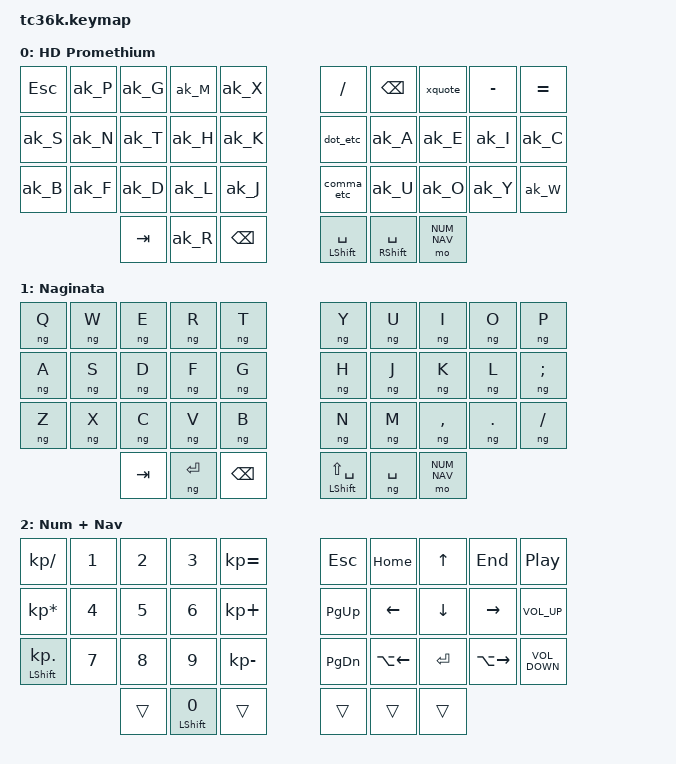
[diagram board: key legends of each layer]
// A default Qwerty keymap is provided along with the Tutte-Coxeter 36K (TC36K)
// and Hesse shields for my split 3x5_3 style 36-key keyboards.
//
// This file is my personal keymap, a modified version of the inverted Hands
// Down Promethium layout, with a numbers/navigation layer, symbols on
// chords/combos, and a Naginata Style layer for typing in Japanese.
//
// Tested on macOS. Symbols assume keyboard is set in the OS as ISO, and used
// with the British locale (e.g. double-quote versus at sign, pipe, etc).

#include <behaviors.dtsi>
#include <dt-bindings/zmk/keys.h>
#include "zmk-helpers/key-labels/36.h"
#include <behaviors/naginata.dtsi>

/ {
  chosen {
    /delete-property/     zephyr,console;
    /delete-property/     zephyr,shell-uart;
    /delete-property/     zephyr,uart-mcumgr;
    /delete-property/     zephyr,bt-mon-uart;
    /delete-property/     zephyr,bt-c2h-uart;
  };
};

// Aliases for my layers
#define DEFAULT 0
#define NAGINATA 1
#define NUM_NAV 2

#define my_linger_term 350 // linger mod-tap trigger time window
#define my_ak_term 350 // behavior-adaptive-key trigger time window
#define my_cc_term 1400 // CommaCap trigger time window

/ {
    macros {
        // To switch to Japanese mode, this sends what Karabiner-Elements sees
        // as japanese_kana (Apple's kana key for macOS),
        // japanese_px_xfer (PC converted key for Windows)
        ng_on: ng_on {
            compatible = "zmk,behavior-macro";
            #binding-cells = <0>;
            bindings
                = <&macro_tap &kp LANGUAGE_1 &kp INTERNATIONAL_4 &to 1>
                ;
        };
        // To switch back to alphanumeric mode, this sends what Karabiner-Elements sees
        // as japanese_eisuu (Apple's alphanumeric key for macOS),
        // japanese_pc_nfer (PC unconverted key for Windows)
        ng_off: ng_off {
            compatible = "zmk,behavior-macro";
            #binding-cells = <0>;
            bindings
                = <&macro_tap &kp LANGUAGE_2 &kp INTERNATIONAL_5 &to 0>
                ;
        };

        // Temporarily switch off the Naginata layer (`&tog 1`) while a modifier is held.
        // Analogous to QMK's `LM(layer, mod)` and ZMK's `&lm` macro but want layer 0 active!
        base_with_mod: base_with_mod {
            compatible = "zmk,behavior-macro-one-param";
            wait-ms = <0>;
            tap-ms = <0>;
            #binding-cells = <1>;
            bindings
                = <&macro_press &tog NAGINATA >
                , <&macro_param_1to1>
                , <&macro_press &kp MACRO_PLACEHOLDER>
                , <&macro_pause_for_release>
                , <&macro_param_1to1>
                , <&macro_release &kp MACRO_PLACEHOLDER>
                , <&macro_press &tog NAGINATA >
                ;
        };

        // Single key-press macro for use in linger-keys
        ktap: key_tap {
            compatible = "zmk,behavior-macro-one-param";
            #binding-cells = <1>;
            display-name = "Key Tap";
            bindings = <&macro_param_1to1>, <&kp MACRO_PLACEHOLDER>;
            tap-ms = <30>;
        };
    };
};

/ {
    behaviors {

        hpmt: hold_preferred_mod_tap {
            compatible = "zmk,behavior-hold-tap";
            #binding-cells = <2>;
            flavor = "hold-preferred";
            tapping-term-ms = <300>;
            quick-tap-ms = <175>;
            bindings = <&kp>, <&kp>;
        };

        // make shift+quote give double-quote like ANSI or Apple UK
        // when host setup with British layout (would be @-sign)
        xquote: override_shift_quote {
            compatible = "zmk,behavior-mod-morph";
            #binding-cells = <0>;
            bindings = <&kp SQT>, <&kp N2>;
            mods = <(MOD_LSFT|MOD_RSFT)>;
            // need to keep shift, and anything else too:
            keep-mods = <(MOD_LSFT|MOD_RSFT|MOD_LCTL|MOD_RCTL|MOD_LALT|MOD_RALT|MOD_LGUI|MOD_RGUI)>;
        };

#include "adaptive-keys.h"

        dot_colon: dot_colon {
            compatible = "zmk,behavior-mod-morph";
            #binding-cells = <0>;
            bindings = <&kp DOT>, <&kp SEMI>;
            mods = <(MOD_LSFT|MOD_RSFT)>;
            // need to keep shift, and anything else too:
            keep-mods = <(MOD_LSFT|MOD_RSFT|MOD_LCTL|MOD_RCTL|MOD_LALT|MOD_RALT|MOD_LGUI|MOD_RGUI)>;
        };
        linger_dot: linger_dot {
            compatible = "zmk,behavior-hold-tap";
            #binding-cells = <2>;
            tapping-term-ms = <my_linger_term>;
            quick-tap-ms = <0>;
            flavor = "tap-preferred";
            bindings = <&ktap &dot_colon>;
        };

#define dot_etc linger_dot EXCL 0

        comma_semi: comma_semi {
            compatible = "zmk,behavior-mod-morph";
            #binding-cells = <0>;
            bindings = <&kp COMMA>, <&kp SEMI>;
            mods = <(MOD_LSFT|MOD_RSFT)>;
            // do NOT want to keep shift active, but anything else is fine:
            keep-mods = <(MOD_LCTL|MOD_RCTL|MOD_LALT|MOD_RALT|MOD_LGUI|MOD_RGUI)>;
        };
        linger_comma: linger_comma {
            compatible = "zmk,behavior-hold-tap";
            #binding-cells = <2>;
            tapping-term-ms = <my_linger_term>;
            quick-tap-ms = <0>;
            flavor = "tap-preferred";
            bindings = <&ktap &comma_semi>;
        };

#define comma_etc linger_comma QUESTION 0

    };
};

/ {
    keymap {
        compatible = "zmk,keymap";

        default_layer {
            display-name = "HD Promethium";
            bindings = <
                &kp ESCAPE &ak_P &ak_G   &ak_M &ak_X    &kp SLASH         &kp BSPC          &xquote &kp MINUS &kp EQUAL
                &ak_S      &ak_N &ak_T   &ak_H &ak_K    &dot_etc          &ak_A             &ak_E   &ak_I     &ak_C
                &ak_B      &ak_F &ak_D   &ak_L &ak_J    &comma_etc        &ak_U             &ak_O   &ak_Y     &ak_W
                                 &kp TAB &ak_R &kp BSPC &hpmt LSHFT SPACE &hpmt RSHFT SPACE &mo NUM_NAV
            >;
        };

        // The Japanese Naginata Style layer is usually layer 1, after the default layer 0.
        // Follows Qwerty but with &np rather than &kp.
        // Thumbs must include `&ng SPACE` (kana-shift when held) and/or
        // `&ng ENTER` (kana-shift when held), ideally both.
        // Standard (ABC) shift is useful for katakana, here combined
        // with shift+space for selecting previous kanji selection on tap.
        naginata_layer {
            display-name = "Naginata";
            bindings = <
                &ng Q &ng W &ng E   &ng R     &ng T    &ng Y     &ng U      &ng I     &ng O      &ng P
                &ng A &ng S &ng D   &ng F     &ng G    &ng H     &ng J      &ng K     &ng L      &ng SEMI
                &ng Z &ng X &ng C   &ng V     &ng B    &ng N     &ng M      &ng COMMA &ng DOT    &ng SLASH
                            &kp TAB &ng ENTER &kp BSPC &hpmt LSHFT LS(SPACE) &ng SPACE &mo NUM_NAV
                >;
        };

        num_nav_layer {
            display-name = "Num + Nav";
            bindings = <
                &kp KP_DIVIDE    &kp N1 &kp N2 &kp N3         &kp KP_EQUAL &kp ESCAPE &kp HOME     &kp UP     &kp END       &kp C_PLAY_PAUSE
                &kp KP_MULTIPLY  &kp N4 &kp N5 &kp N6         &kp KP_PLUS  &kp PG_UP  &kp LEFT     &kp DOWN   &kp RIGHT     &kp K_VOLUME_UP
                &mt LSHFT KP_DOT &kp N7 &kp N8 &kp N9         &kp KP_MINUS &kp PG_DN  &kp LA(LEFT) &kp RETURN &kp LA(RIGHT) &kp K_VOLUME_DOWN
                                        &trans &hpmt LSHFT N0 &trans       &trans     &trans       &trans
            >;
        };

        // Empty layers for ZMK Studio:
        extra3 {
            status = "reserved";
        };
        extra4 {
            status = "reserved";
        };
        extra5 {
            status = "reserved";
        };
    };
};

/ {
    combos {
        compatible = "zmk,combos";

        // Top left (Q) + top right (P) = &studio_unlock
        combo_studio_unlock {
            timeout-ms = <100>;
            key-positions = <0 9>;
            bindings = <&studio_unlock>;
            layers = <DEFAULT>;
        };

        // Inner corners (T, Y, B, N) = &bootloader
        combo_bootloader {
            timeout-ms = <300>;
            key-positions = <LT0 RT0 LB0 RB0>;
            bindings = <&bootloader>;
            layers = <DEFAULT>;
        };

        // Japanese mode and 薙刀 (Naginata Style) on/off
        // Can't use <RM0 RM1> Qwerty H+J as I use that for close bracket
        combo_ng_on {
            timeout-ms = <300>;
            key-positions = <RM0 RM2>; // Qwerty H+K, on right hand home row
            bindings = <&ng_on>;
            layers = <DEFAULT NAGINATA>;
        };
        // Can't use <LM0 LM1> Qwerty F+G as I use that for open bracket
        combo_ng_off {
            timeout-ms = <300>;
            key-positions = <LM0 LM2>; // Qwerty D+G, on left hand home row
            bindings = <&ng_off>;
            layers = <DEFAULT NAGINATA>;
        };

        // 3-key horizontal combos
        tab_combo {
            bindings = <&kp TAB>;
            key-positions = <LB1 LB2 LB3>;
            timeout-ms = <75>;
        };

        enter_combo {
            bindings = <&kp ENTER>;
            key-positions = <RB1 RB2 RB3>;
            timeout-ms = <75>;
        };

        // 2-key horizontal home-row combos for modifiers
        left_alt_combo {
            bindings = <&kp LALT>;
            key-positions = <LM3 LM4>;
            layers = <DEFAULT NUM_NAV>;
            require-prior-idle-ms = <125>;
        };
        left_ctrl_combo {
            bindings = <&kp LCTRL>;
            key-positions = <LM2 LM3>;
            layers = <DEFAULT NUM_NAV>;
            require-prior-idle-ms = <125>;
        };
        left_gui_combo {
            bindings = <&kp LGUI>;
            key-positions = <LM1 LM2>;
            layers = <DEFAULT NUM_NAV>;
            require-prior-idle-ms = <125>;
        };
        right_alt_combo {
            bindings = <&kp RALT>;
            key-positions = <RM3 RM4>;
            layers = <DEFAULT NUM_NAV>;
            require-prior-idle-ms = <125>;
        };
        right_ctrl_combo {
            bindings = <&kp RCTRL>;
            key-positions = <RM2 RM3>;
            layers = <DEFAULT NUM_NAV>;
            require-prior-idle-ms = <125>;
        };
        right_gui_combo {
            bindings = <&kp RGUI>;
            key-positions = <RM1 RM2>;
            layers = <DEFAULT NUM_NAV>;
            require-prior-idle-ms = <125>;
        };

        // 2-key horizontal combos for rare letters
        q_combo {
            bindings = <&ak_Q>;
            key-positions = <LT1 LT2>;
            layers = <DEFAULT>;
            timeout-ms = <100>;
        };

        z_combo {
            bindings = <&ak_Z>;
            key-positions = <RT2 RT3>;
            layers = <DEFAULT>;
            timeout-ms = <75>;
        };

        v_combo {
            bindings = <&ak_V>;
            key-positions = <LT2 LT3>;
            layers = <DEFAULT>;
            timeout-ms = <75>;
        };

        x_combo {
            bindings = <&ak_X>;
            key-positions = <LB2 LB3>;
            layers = <DEFAULT>;
            timeout-ms = <75>;
        };

        // 2-key vertical combos (symbols)
        backtick {
            bindings = <&kp GRAVE>;
            key-positions = <LT4 LM4>;
            layers = <DEFAULT NUM_NAV>;
        };

        at_sign {
            bindings = <&kp LS(SQT)>;
            key-positions = <LT3 LM3>;
            layers = <DEFAULT NUM_NAV>;
        };

        gbp_sign {
            bindings = <&kp LS(NUMBER_3)>;
            key-positions = <LT2 LM2>;
            layers = <DEFAULT NUM_NAV>;
        };

        dollar_sign {
            bindings = <&kp DOLLAR>;
            key-positions = <LT1 LM1>;
            layers = <DEFAULT NUM_NAV>;
        };

        percent_sign {
            bindings = <&kp PERCENT>;
            key-positions = <LT0 LM0>;
            layers = <DEFAULT NUM_NAV>;
        };

        pipe_sign {
            bindings = <&kp LS(NON_US_BACKSLASH)>;
            key-positions = <LM0 LB0>;
            layers = <DEFAULT NUM_NAV>;
        };

        slash {
            bindings = <&kp SLASH>;
            key-positions = <RM0 RB0>;
            layers = <DEFAULT NUM_NAV>;
        };

        caret_sign {
            bindings = <&kp CARET>;
            key-positions = <RT0 RM0>;
            layers = <DEFAULT NUM_NAV>;
        };

        ampersand_sign {
            bindings = <&kp AMPS>;
            key-positions = <RT1 RM1>;
            layers = <DEFAULT NUM_NAV>;
        };

        hash_sign {
            bindings = <&kp NON_US_HASH>;
            key-positions = <RT2 RM2>;
            layers = <DEFAULT NUM_NAV>;
        };

        backslash_sign {
            bindings = <&kp NON_US_BACKSLASH>;
            key-positions = <RT3 RM3>;
            layers = <DEFAULT NUM_NAV>;
        };

        tilde_sign {
            bindings = <&kp LS(NON_US_HASH)>;
            key-positions = <RT4 RM4>;
            layers = <DEFAULT NUM_NAV>;
        };

        // 2-key horizontal combos (brackets):
        open_curly {
            bindings = <&kp LEFT_BRACE>;
            key-positions = <LT0 LT1>;
            layers = <DEFAULT NUM_NAV>;
        };

        close_curly {
            bindings = <&kp RIGHT_BRACE>;
            key-positions = <RT0 RT1>;
            layers = <DEFAULT NUM_NAV>;
        };

        open_bracket {
            bindings = <&kp LEFT_PARENTHESIS>;
            key-positions = <LM0 LM1>;
            layers = <DEFAULT NUM_NAV>;
        };

        close_bracket {
            bindings = <&kp RIGHT_PARENTHESIS>;
            key-positions = <RM0 RM1>;
            layers = <DEFAULT NUM_NAV>;
        };

        open_square {
            bindings = <&kp LEFT_BRACKET>;
            key-positions = <LB0 LB1>;
            layers = <DEFAULT NUM_NAV>;
        };

        close_square {
            bindings = <&kp RIGHT_BRACKET>;
            key-positions = <RB0 RB1>;
            layers = <DEFAULT NUM_NAV>;
        };

        less_than {
            bindings = <&kp LESS_THAN>;
            key-positions = <LB3 LB4>;
            layers = <DEFAULT NUM_NAV>;
        };

        greater_than {
            bindings = <&kp GREATER_THAN>;
            key-positions = <RB3 RB4>;
            layers = <DEFAULT NUM_NAV>;
        };

// Bluetooth combos for the Hesse
#ifdef CONFIG_WIRELESS
        combo_bt_prev {
            bindings = <&bt BT_PRV>;
            key-positions = <LT2 LT3>;
            layers = <NUM_NAV>;
        };
        combo_bt_next {
            bindings = <&bt BT_NXT>;
            key-positions = <LT1 LT2>;
            layers = <NUM_NAV>;
        };
        combo_bt_clear {
            bindings = <&bt BT_CLR>;
            key-positions = <RT1 RT2>;
            layers = <NUM_NAV>;
        };
        combo_bt_clear_all {
            bindings = <&bt BT_CLR_ALL>;
            key-positions = <RT2 RT3>;
            layers = <NUM_NAV>;
        };
#endif // CONFIG_WIRELESS

    };
};
